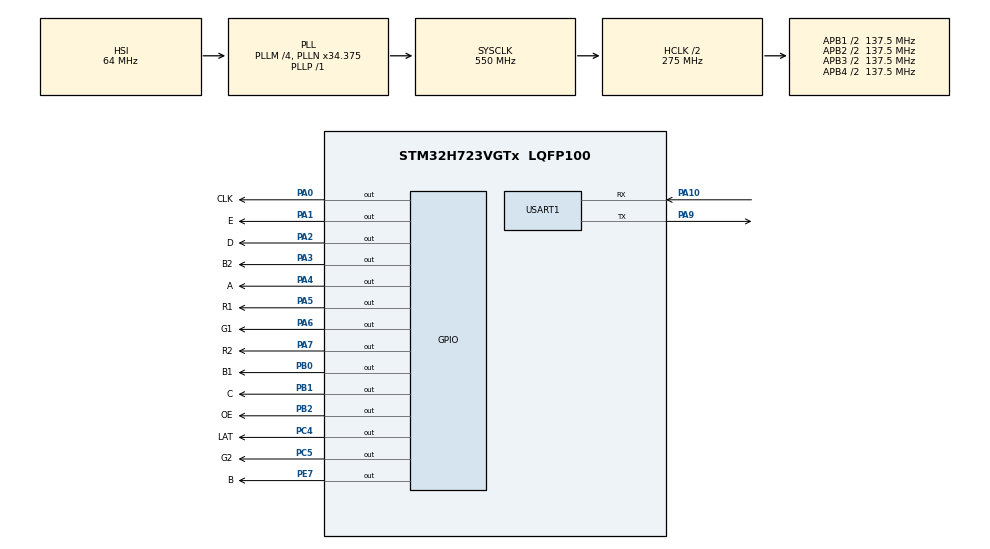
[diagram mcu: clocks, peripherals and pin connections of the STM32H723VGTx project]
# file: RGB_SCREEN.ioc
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CORTEX_M7.default_mode_Activation=1
Mcu.Family=STM32H7
Mcu.Name=STM32H723VGTx
Mcu.Package=LQFP100
NVIC.PriorityGroup=NVIC_PRIORITYGROUP_4
NVIC.TIM1_UP_IRQn=true\:0\:0\:false\:false\:true\:true\:true\:true
PA0.GPIO_Label=CLK
PA0.GPIO_PuPd=GPIO_PULLUP
PA0.GPIO_Speed=GPIO_SPEED_FREQ_HIGH
PA0.PinState=GPIO_PIN_SET
PA0.Signal=GPIO_Output
PA1.GPIO_Label=E
PA1.GPIO_PuPd=GPIO_PULLUP
PA1.GPIO_Speed=GPIO_SPEED_FREQ_HIGH
PA1.Signal=GPIO_Output
PA10.Mode=Asynchronous
PA10.Signal=USART1_RX
PA13(JTMS/SWDIO).Mode=Serial_Wire
PA13(JTMS/SWDIO).Signal=DEBUG_JTMS-SWDIO
PA14(JTCK/SWCLK).Mode=Serial_Wire
PA14(JTCK/SWCLK).Signal=DEBUG_JTCK-SWCLK
PA2.GPIO_Label=D
PA2.GPIO_PuPd=GPIO_PULLUP
PA2.GPIO_Speed=GPIO_SPEED_FREQ_HIGH
PA2.Signal=GPIO_Output
PA3.GPIO_Label=B2
PA3.GPIO_PuPd=GPIO_PULLUP
PA3.GPIO_Speed=GPIO_SPEED_FREQ_HIGH
PA3.Signal=GPIO_Output
PA4.GPIO_Label=A
PA4.GPIO_PuPd=GPIO_PULLUP
PA4.GPIO_Speed=GPIO_SPEED_FREQ_HIGH
PA4.Signal=GPIO_Output
PA5.GPIO_Label=R1
PA5.GPIO_PuPd=GPIO_PULLUP
PA5.GPIO_Speed=GPIO_SPEED_FREQ_HIGH
PA5.Signal=GPIO_Output
PA6.GPIO_Label=G1
PA6.GPIO_PuPd=GPIO_PULLUP
PA6.GPIO_Speed=GPIO_SPEED_FREQ_HIGH
PA6.Signal=GPIO_Output
PA7.GPIO_Label=R2
PA7.GPIO_PuPd=GPIO_PULLUP
PA7.GPIO_Speed=GPIO_SPEED_FREQ_HIGH
PA7.Signal=GPIO_Output
PA9.Mode=Asynchronous
PA9.Signal=USART1_TX
PB0.GPIO_Label=B1
PB0.GPIO_PuPd=GPIO_PULLUP
PB0.GPIO_Speed=GPIO_SPEED_FREQ_HIGH
PB0.Signal=GPIO_Output
PB1.GPIO_Label=C
PB1.GPIO_PuPd=GPIO_PULLUP
PB1.GPIO_Speed=GPIO_SPEED_FREQ_HIGH
PB1.Signal=GPIO_Output
PB2.GPIO_Label=OE
PB2.GPIO_PuPd=GPIO_PULLUP
PB2.GPIO_Speed=GPIO_SPEED_FREQ_HIGH
PB2.PinState=GPIO_PIN_SET
PB2.Signal=GPIO_Output
PC4.GPIO_Label=LAT
PC4.GPIO_PuPd=GPIO_PULLUP
PC4.GPIO_Speed=GPIO_SPEED_FREQ_HIGH
PC4.Signal=GPIO_Output
PC5.GPIO_Label=G2
PC5.GPIO_PuPd=GPIO_PULLUP
PC5.GPIO_Speed=GPIO_SPEED_FREQ_HIGH
PC5.Signal=GPIO_Output
PE7.GPIO_Label=B
PE7.GPIO_PuPd=GPIO_PULLUP
PE7.GPIO_Speed=GPIO_SPEED_FREQ_HIGH
PE7.Signal=GPIO_Output
PH0-OSC_IN.Mode=HSE-External-Oscillator
PH0-OSC_IN.Signal=RCC_OSC_IN
PH1-OSC_OUT.Mode=HSE-External-Oscillator
PH1-OSC_OUT.Signal=RCC_OSC_OUT
ProjectManager.HeapSize=0x200
ProjectManager.StackSize=0x400
ProjectManager.TargetToolchain=Makefile
RCC.ADCFreq_Value=129000000
RCC.APB1Freq_Value=137500000
RCC.APB2Freq_Value=137500000
RCC.APB3Freq_Value=137500000
RCC.APB4Freq_Value=137500000
RCC.CortexFreq_Value=550000000
RCC.D1PPRE=RCC_APB3_DIV2
RCC.D2PPRE1=RCC_APB1_DIV2
RCC.D2PPRE2=RCC_APB2_DIV2
RCC.D3PPRE=RCC_APB4_DIV2
RCC.DIVM1=4
RCC.DIVN1=34
RCC.DIVP1=1
RCC.HCLKFreq_Value=275000000
RCC.HPRE=RCC_HCLK_DIV2
RCC.PLL2FRACN=0
RCC.PLL3FRACN=0
RCC.PLLFRACN=3072
RCC.SYSCLKFreq_VALUE=550000000
RCC.SYSCLKSource=RCC_SYSCLKSOURCE_PLLCLK
RCC.USBFreq_Value=275000000
TIM1.AutoReloadPreload=TIM_AUTORELOAD_PRELOAD_ENABLE
TIM1.Period=199
TIM1.Prescaler=54
USART1.VirtualMode-Asynchronous=VM_ASYNC
VP_MEMORYMAP_VS_MEMORYMAP.Mode=CurAppReg
VP_TIM1_VS_ClockSourceINT.Mode=Internal
board=custom

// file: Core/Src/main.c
/* USER CODE BEGIN Header */
/**
  ******************************************************************************
  * @file           : main.c
  * @brief          : Main program body
  ******************************************************************************
  * @attention
  *
  * Copyright (c) 2023 STMicroelectronics.
  * All rights reserved.
  *
  * This software is licensed under terms that can be found in the LICENSE file
  * in the root directory of this software component.
  * If no LICENSE file comes with this software, it is provided AS-IS.
  *export PATH=$PATH:/Users/shenzi/Library/Python/3.9/bin
  ******************************************************************************
  */
/* USER CODE END Header */
#include "main.h"
#include "tim.h"
#include "usart.h"
#include "gpio.h"

/* USER CODE BEGIN Includes */
#include "RGBMatrix_device.h"
#include "GUI_Paint.h"
#include <stdio.h>
/* USER CODE END Includes */

void SystemClock_Config(void);
static void MPU_Config(void);

int main(void)
{

  /* USER CODE BEGIN 1 */

  uint16_t width = 64; // 单屏宽度（像素）
  uint8_t address_size = 5; // 地址位数，例如 1/32 扫描为 5 位地址
  uint8_t bitDepth=4; // 位深设置，最大 4 位

  /* USER CODE END 1 */

  /* MPU Configuration--------------------------------------------------------*/
  MPU_Config();

  /* MCU Configuration--------------------------------------------------------*/

  /* Reset of all peripherals, Initializes the Flash interface and the Systick. */
  HAL_Init();

  /* Configure the system clock */
  SystemClock_Config();

  /* Initialize all configured peripherals */
  MX_GPIO_Init();
  MX_TIM1_Init();
  MX_USART1_UART_Init();
  /* USER CODE BEGIN 2 */

  // 微秒级延时初始化
  DWT_Init();

  // HUB75 显示屏初始化，设置宽度、地址位数、位深
  HUB75_Init(width,address_size,bitDepth);

  // 为显示屏分配黑色背景缓冲区内存
  if((RGB_Matrix.BlackImage = (UWORD *)malloc(RGB_Matrix.all_width * RGB_Matrix.height)) == NULL)
  {
    printf("Failed to apply for black memory...\r\n"); // 内存分配失败，打印错误并死循环
    while(1);
  }

  // 创建新图像缓冲区，设置为黑色
  Paint_NewImage(RGB_Matrix.BlackImage,RGB_Matrix.all_width, RGB_Matrix.height, 0, BLACK);

  // 清屏，全部填充为黑色
  Paint_Clear(BLACK);

  // 彩虹色竖线扫描测试，防止某一列灯不亮，仅取 RGB565 高四位
  for(uint16_t x=0;x < width + 1;x++ ){
    if((Wheel(x) & 0xFE1F)  == 0) // 仅取高四位，避免某列不亮
    {
      Paint_DrawLine(x, 0, x, 64, Wheel(x-1) , DOT_PIXEL_1X1, LINE_STYLE_SOLID); // 画竖线
    }
    else
      Paint_DrawLine(x, 0, x, 64, Wheel(x), DOT_PIXEL_1X1, LINE_STYLE_SOLID);
  }
  HUB75_show(); // 刷新显示屏
  HAL_Delay(1000); // 延时 1 秒

  // 清屏后绘制十字和圆点
  Paint_Clear(BLACK);
  Paint_DrawLine(20, 11, 20, 31, Wheel(1), DOT_PIXEL_1X1, LINE_STYLE_SOLID); // 竖线
  Paint_DrawLine(10, 21, 30, 21, Wheel(31), DOT_PIXEL_1X1, LINE_STYLE_SOLID); // 横线
  Paint_DrawCircle(20, 21, 10, Wheel(14), DOT_PIXEL_1X1, DRAW_FILL_EMPTY);    // 空心圆
  Paint_DrawPoint(20,21, Wheel(1) | Wheel(31), DOT_PIXEL_1X1,  DOT_FILL_RIGHTUP); // 圆心点

  Paint_DrawLine(44, 11, 44, 31, Wheel(16), DOT_PIXEL_1X1, LINE_STYLE_SOLID); // 右侧竖线
  Paint_DrawLine(34, 21, 54, 21, Wheel(63), DOT_PIXEL_1X1, LINE_STYLE_SOLID); // 右侧横线
  Paint_DrawCircle(44, 21, 10, Wheel(54), DOT_PIXEL_1X1, DRAW_FILL_EMPTY);    // 右侧空心圆
  Paint_DrawPoint(44,21, Wheel(16) | Wheel(63), DOT_PIXEL_1X1,  DOT_FILL_RIGHTUP); // 右侧圆心点

  Paint_DrawRectangle(1, 1, 64, 64, Wheel(6), DOT_PIXEL_1X1, DRAW_FILL_EMPTY); // 画边框矩形

  printf("Display string.\n"); // 串口输出提示
  Paint_DrawString_EN(5, 32, "Hello", &Font16, BLACK, YELLOW); // 英文字符串
  Paint_DrawString_EN(5, 47, "world", &Font12, MAGENTA, BLACK); // 英文字符串
  HAL_Delay(1000); // 延时 1 秒

  // 清屏后显示数字和中文
  Paint_Clear(BLACK);
  Paint_DrawNum(0, 25, 23.456789, &Font16, 2, Wheel(90), BLACK); // 显示浮点数字
  Paint_DrawString_CN(1, 1, "汉字abc", &Font12CN, Wheel(35), BLACK); // 显示中文字符串
  Paint_DrawCircle(20, 21, 10, Wheel(14), DOT_PIXEL_1X1, DRAW_FILL_EMPTY);
  Paint_DrawPoint(20,21, Wheel(1) | Wheel(31), DOT_PIXEL_1X1,  DOT_FILL_RIGHTUP);

  Paint_DrawLine(44, 11, 44, 31, Wheel(16), DOT_PIXEL_1X1, LINE_STYLE_SOLID);
  Paint_DrawLine(34, 21, 54, 21, Wheel(63), DOT_PIXEL_1X1, LINE_STYLE_SOLID);
  Paint_DrawCircle(44, 21, 10, Wheel(54), DOT_PIXEL_1X1, DRAW_FILL_EMPTY);
  Paint_DrawPoint(44,21, Wheel(16) | Wheel(63), DOT_PIXEL_1X1,  DOT_FILL_RIGHTUP);

  Paint_DrawRectangle(1, 1, 64, 64, Wheel(6), DOT_PIXEL_1X1, DRAW_FILL_EMPTY);

  printf("Display string.\n");
  Paint_DrawString_EN(5, 32, "Hello", &Font16, BLACK, YELLOW);
  Paint_DrawString_EN(5, 47, "world", &Font12, MAGENTA, BLACK);
  HAL_Delay(1000);

  Paint_Clear(BLACK);
  Paint_DrawNum(0, 25, 23.456789, &Font16, 2, Wheel(90), BLACK);
  Paint_DrawString_CN(1, 1, "���abc", &Font12CN, Wheel(35), BLACK);

  /* USER CODE END 2 */

  /* Infinite loop */
  while (1)
  {

  }
}

void SystemClock_Config(void)
{
  RCC_OscInitTypeDef RCC_OscInitStruct = {0};
  RCC_ClkInitTypeDef RCC_ClkInitStruct = {0};

  /** Supply configuration update enable
  */
  HAL_PWREx_ConfigSupply(PWR_LDO_SUPPLY);

  /** Configure the main internal regulator output voltage
  */
  __HAL_PWR_VOLTAGESCALING_CONFIG(PWR_REGULATOR_VOLTAGE_SCALE0);

  while(!__HAL_PWR_GET_FLAG(PWR_FLAG_VOSRDY)) {}

  /** Initializes the RCC Oscillators according to the specified parameters
  * in the RCC_OscInitTypeDef structure.
  */
  RCC_OscInitStruct.OscillatorType = RCC_OSCILLATORTYPE_HSI;
  RCC_OscInitStruct.HSIState = RCC_HSI_DIV1;
  RCC_OscInitStruct.HSICalibrationValue = 64;
  RCC_OscInitStruct.PLL.PLLState = RCC_PLL_ON;
  RCC_OscInitStruct.PLL.PLLSource = RCC_PLLSOURCE_HSI;
  RCC_OscInitStruct.PLL.PLLM = 4;
  RCC_OscInitStruct.PLL.PLLN = 34;
  RCC_OscInitStruct.PLL.PLLP = 1;
  RCC_OscInitStruct.PLL.PLLQ = 2;
  RCC_OscInitStruct.PLL.PLLR = 2;
  RCC_OscInitStruct.PLL.PLLRGE = RCC_PLL1VCIRANGE_3;
  RCC_OscInitStruct.PLL.PLLVCOSEL = RCC_PLL1VCOWIDE;
  RCC_OscInitStruct.PLL.PLLFRACN = 3072;
  if (HAL_RCC_OscConfig(&RCC_OscInitStruct) != HAL_OK)
  {
    Error_Handler();
  }

  /** Initializes the CPU, AHB and APB buses clocks
  */
  RCC_ClkInitStruct.ClockType = RCC_CLOCKTYPE_HCLK|RCC_CLOCKTYPE_SYSCLK
                              |RCC_CLOCKTYPE_PCLK1|RCC_CLOCKTYPE_PCLK2
                              |RCC_CLOCKTYPE_D3PCLK1|RCC_CLOCKTYPE_D1PCLK1;
  RCC_ClkInitStruct.SYSCLKSource = RCC_SYSCLKSOURCE_PLLCLK;
  RCC_ClkInitStruct.SYSCLKDivider = RCC_SYSCLK_DIV1;
  RCC_ClkInitStruct.AHBCLKDivider = RCC_HCLK_DIV2;
  RCC_ClkInitStruct.APB3CLKDivider = RCC_APB3_DIV2;
  RCC_ClkInitStruct.APB1CLKDivider = RCC_APB1_DIV2;
  RCC_ClkInitStruct.APB2CLKDivider = RCC_APB2_DIV2;
  RCC_ClkInitStruct.APB4CLKDivider = RCC_APB4_DIV2;

  if (HAL_RCC_ClockConfig(&RCC_ClkInitStruct, FLASH_LATENCY_3) != HAL_OK)
  {
    Error_Handler();
  }
}

 /* MPU Configuration */

void MPU_Config(void)
{
  MPU_Region_InitTypeDef MPU_InitStruct = {0};

  /* Disables the MPU */
  HAL_MPU_Disable();

  /** Initializes and configures the Region and the memory to be protected
  */
  MPU_InitStruct.Enable = MPU_REGION_ENABLE;
  MPU_InitStruct.Number = MPU_REGION_NUMBER0;
  MPU_InitStruct.BaseAddress = 0x0;
  MPU_InitStruct.Size = MPU_REGION_SIZE_4GB;
  MPU_InitStruct.SubRegionDisable = 0x87;
  MPU_InitStruct.TypeExtField = MPU_TEX_LEVEL0;
  MPU_InitStruct.AccessPermission = MPU_REGION_NO_ACCESS;
  MPU_InitStruct.DisableExec = MPU_INSTRUCTION_ACCESS_DISABLE;
  MPU_InitStruct.IsShareable = MPU_ACCESS_SHAREABLE;
  MPU_InitStruct.IsCacheable = MPU_ACCESS_NOT_CACHEABLE;
  MPU_InitStruct.IsBufferable = MPU_ACCESS_NOT_BUFFERABLE;

  HAL_MPU_ConfigRegion(&MPU_InitStruct);
  /* Enables the MPU */
  HAL_MPU_Enable(MPU_PRIVILEGED_DEFAULT);

}

void Error_Handler(void)
{
  __disable_irq();
  while (1)
  {
  }
}
